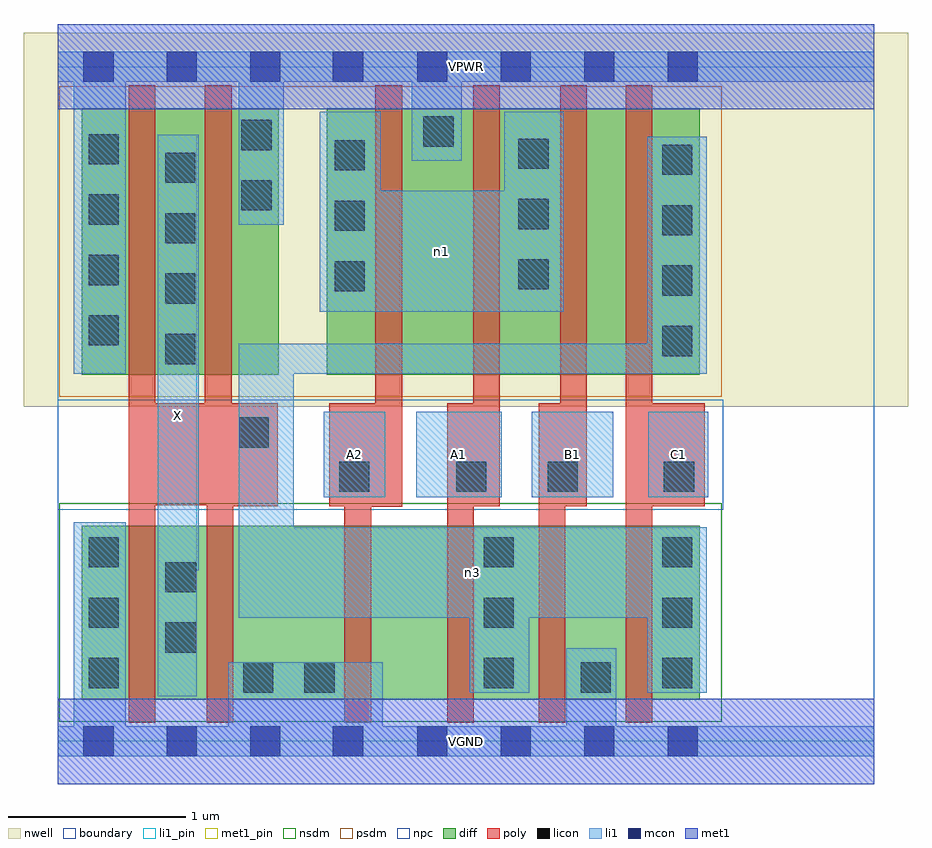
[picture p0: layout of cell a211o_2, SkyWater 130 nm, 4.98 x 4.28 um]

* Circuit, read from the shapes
.subckt a211o_2 A1 A2 B1 C1 VGND VPWR X n1 n3
XM1 X n3 VGND VSUBS sky130_fd_pr__nfet_01v8 w=0.98 l=0.15 m=2
XM2 n2 A2 VGND VSUBS sky130_fd_pr__nfet_01v8 w=0.98 l=0.15
XM3 n3 A1 n2 VSUBS sky130_fd_pr__nfet_01v8 w=0.98 l=0.15
XM4 VGND B1 n3 VSUBS sky130_fd_pr__nfet_01v8 w=0.98 l=0.15
XM5 n3 C1 VGND VSUBS sky130_fd_pr__nfet_01v8 w=0.98 l=0.15
XM6 X n3 VPWR n4 sky130_fd_pr__pfet_01v8 w=1.5 l=0.15 m=2
XM7 VPWR A2 n1 n4 sky130_fd_pr__pfet_01v8 w=1.5 l=0.15
XM8 n1 A1 VPWR n4 sky130_fd_pr__pfet_01v8 w=1.5 l=0.15
XM9 n5 B1 n1 n4 sky130_fd_pr__pfet_01v8 w=1.5 l=0.15
XM10 n3 C1 n5 n4 sky130_fd_pr__pfet_01v8 w=1.5 l=0.15
.ends

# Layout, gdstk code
import gdstk
lib = gdstk.Library(unit=1e-6, precision=1e-09)
def R(c, l, rs):  # rectangles x0, y0, x1, y1
    for r in rs: c.add(gdstk.rectangle(r[:2], r[2:], *l))
def A(c, l, x, y, w, h, nx, ny, dx, dy):  # array of equal rectangles
    R(c, l, [(x+i*dx, y+j*dy, x+i*dx+w, y+j*dy+h) for i in range(nx) for j in range(ny)])
nwell = (64, 20)
diff = (65, 20)
poly = (66, 20)
licon = (66, 44)
li1_pin = (67, 16)
li1 = (67, 20)
mcon = (67, 44)
met1_pin = (68, 16)
met1 = (68, 20)
nsdm = (93, 44)
psdm = (94, 20)
npc = (95, 20)
boundary = (235, 4)

a211o_2 = lib.new_cell('a211o_2')
R(a211o_2, nwell, [(-0.19,1.885,4.79,3.99), (0,1.885,4.6,3.99)])
R(a211o_2, diff, [(0.135,0.235,3.615,1.215), (0.135,2.065,1.245,3.565), (1.515,2.065,3.615,3.565)])
R(a211o_2, poly, [(0.4,0.105,0.55,3.695), (0.84,0.105,0.99,1.905), (1.615,0.105,1.765,1.905), (2.195,0.105,2.345,1.905), (2.71,0.105,2.86,1.905), (3.2,0.105,3.35,3.695), (1.615,1.32,1.94,1.905), (1.79,1.32,1.94,3.695), (0.84,1.325,1.24,1.905), (1.53,1.325,1.94,1.905), (2.34,1.325,2.49,3.695), (2.83,1.325,2.98,3.695), (3.2,1.325,3.645,1.905), (0.4,1.33,1.24,1.905), (0.83,1.33,0.98,3.695)])
A(a211o_2, licon, 0.175, 0.3, 0.17, 0.17, 1, 3, 0, 0.34)
A(a211o_2, licon, 2.4, 0.3, 0.17, 0.17, 1, 3, 0, 0.34)
A(a211o_2, licon, 3.405, 0.3, 0.17, 0.17, 1, 3, 0, 0.34)
A(a211o_2, licon, 0.605, 2.125, 0.17, 0.17, 1, 4, 0, 0.34)
A(a211o_2, licon, 3.405, 2.17, 0.17, 0.17, 1, 4, 0, 0.34)
A(a211o_2, licon, 0.175, 2.23, 0.17, 0.17, 1, 4, 0, 0.34)
A(a211o_2, licon, 1.56, 2.535, 0.17, 0.17, 1, 3, 0, 0.34)
A(a211o_2, licon, 2.595, 2.545, 0.17, 0.17, 1, 3, 0, 0.34)
R(a211o_2, licon, [(1.045,0.275,1.215,0.445), (1.39,0.275,1.56,0.445), (2.945,0.275,3.115,0.445), (0.605,0.5,0.775,0.67), (0.61,0.5,0.78,0.67), (0.605,0.84,0.775,1.01), (0.61,0.84,0.78,1.01), (1.585,1.405,1.755,1.575), (2.245,1.405,2.415,1.575), (2.76,1.405,2.93,1.575), (3.415,1.405,3.585,1.575), (1.02,1.655,1.19,1.825), (1.035,2.99,1.205,3.16), (1.035,3.33,1.205,3.5), (2.06,3.35,2.23,3.52)])
R(a211o_2, li1_pin, [(0.565,0.255,0.785,3.415), (1.5,1.375,1.845,1.855), (2.02,1.375,2.5,1.855), (2.67,1.375,3.13,1.855), (3.325,1.375,3.665,1.855)])
R(a211o_2, li1, [(0,-0.085,4.6,0.085), (0.09,-0.085,0.385,1.235), (0.96,-0.085,1.83,0.445), (2.865,-0.085,3.145,0.525), (0.565,0.255,0.785,3.415), (2.32,0.275,2.655,1.205), (3.32,0.275,3.655,1.205), (1.02,0.695,3.655,1.205), (1.02,0.695,1.33,2.24), (0.565,0.965,0.795,3.415), (1.5,1.375,1.845,1.855), (2.02,1.375,2.5,1.855), (2.67,1.375,3.13,1.855), (3.325,1.375,3.665,1.855), (0.09,2.07,0.385,3.885), (1.02,2.07,3.655,2.24), (3.32,2.07,3.655,3.405), (1.475,2.42,2.85,3.1), (1.475,2.42,1.82,3.545), (2.515,2.42,2.85,3.545), (1.02,2.91,1.275,3.885), (1.995,3.27,2.275,3.885), (0,3.715,4.6,3.885)])
A(a211o_2, mcon, 0.145, -0.085, 0.17, 0.17, 3, 2, 0.47, 3.8)
A(a211o_2, mcon, 2.025, -0.085, 0.17, 0.17, 4, 2, 0.47, 3.8)
R(a211o_2, mcon, [(1.55,-0.085,1.72,0.085), (1.55,3.715,1.72,3.885)])
R(a211o_2, met1_pin, [(0,-0.24,4.6,0.24), (0,3.56,4.6,4.04)])
R(a211o_2, met1, [(0,-0.24,4.6,0.24), (0,3.56,4.6,4.04)])
R(a211o_2, nsdm, [(0.01,0.11,3.74,1.34)])
R(a211o_2, psdm, [(0.01,1.94,3.74,3.69)])
R(a211o_2, npc, [(0,1.305,3.75,1.925)])
R(a211o_2, boundary, [(0,0,4.6,3.8)])
a211o_2.add(gdstk.Label('A1', (2.26,1.615), layer=67, texttype=5))
a211o_2.add(gdstk.Label('A2', (1.672,1.615), layer=67, texttype=5))
a211o_2.add(gdstk.Label('B1', (2.9,1.615), layer=67, texttype=5))
a211o_2.add(gdstk.Label('C1', (3.495,1.615), layer=67, texttype=5))
a211o_2.add(gdstk.Label('X', (0.675,1.835), layer=67, texttype=5))
a211o_2.add(gdstk.Label('n3', (2.337,0.95), layer=67, texttype=5))
a211o_2.add(gdstk.Label('n1', (2.162,2.76), layer=67, texttype=5))
a211o_2.add(gdstk.Label('VPWR', (2.3,3.8), layer=68, texttype=5))
a211o_2.add(gdstk.Label('VGND', (2.3,0), layer=68, texttype=5))
a211o_2.add(gdstk.Label('A1', (2.26,1.615), layer=67, texttype=16))
a211o_2.add(gdstk.Label('A2', (1.672,1.615), layer=67, texttype=16))
a211o_2.add(gdstk.Label('B1', (2.9,1.615), layer=67, texttype=16))
a211o_2.add(gdstk.Label('C1', (3.495,1.615), layer=67, texttype=16))
a211o_2.add(gdstk.Label('X', (0.675,1.835), layer=67, texttype=16))
a211o_2.add(gdstk.Label('VPWR', (2.3,3.8), layer=68, texttype=16))
a211o_2.add(gdstk.Label('VGND', (2.3,0), layer=68, texttype=16))

lib.write_gds('a211o_2.gds')
